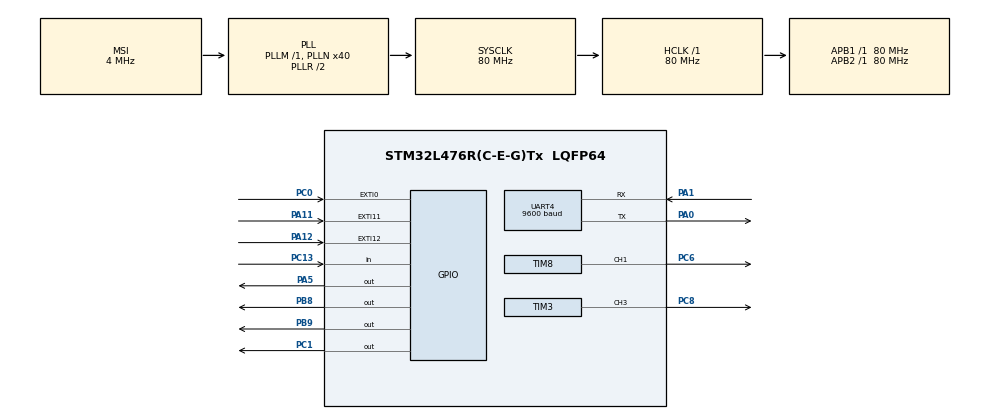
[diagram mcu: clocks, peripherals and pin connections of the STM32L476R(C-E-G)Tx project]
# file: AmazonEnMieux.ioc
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Mcu.Family=STM32L4
Mcu.Name=STM32L476R(C-E-G)Tx
Mcu.Package=LQFP64
NVIC.EXTI0_IRQn=true\:0\:0\:false\:false\:true\:true\:true
NVIC.EXTI15_10_IRQn=true\:0\:0\:false\:false\:true\:true\:true
NVIC.PriorityGroup=NVIC_PRIORITYGROUP_4
PA0.Mode=Asynchronous
PA0.Signal=UART4_TX
PA1.Mode=Asynchronous
PA1.Signal=UART4_RX
PA11.GPIO_ModeDefaultEXTI=GPIO_MODE_IT_RISING_FALLING
PA11.Signal=GPXTI11
PA12.GPIO_ModeDefaultEXTI=GPIO_MODE_IT_RISING_FALLING
PA12.Signal=GPXTI12
PA13\ (JTMS-SWDIO).Mode=Serial_Wire
PA13\ (JTMS-SWDIO).Signal=SYS_JTMS-SWDIO
PA14\ (JTCK-SWCLK).Mode=Serial_Wire
PA14\ (JTCK-SWCLK).Signal=SYS_JTCK-SWCLK
PA5.Signal=GPIO_Output
PB8.Signal=GPIO_Output
PB9.Signal=GPIO_Output
PC0.GPIO_ModeDefaultEXTI=GPIO_MODE_IT_RISING_FALLING
PC0.Signal=GPXTI0
PC1.Signal=GPIO_Output
PC13.Signal=GPIO_Input
PC6.Signal=S_TIM8_CH1
PC8.Signal=S_TIM3_CH3
ProjectManager.HeapSize=0x200
ProjectManager.StackSize=0x400
ProjectManager.TargetToolchain=STM32CubeIDE
RCC.AHBFreq_Value=80000000
RCC.APB1Freq_Value=80000000
RCC.APB1TimFreq_Value=80000000
RCC.APB2Freq_Value=80000000
RCC.APB2TimFreq_Value=80000000
RCC.CortexFreq_Value=80000000
RCC.HCLKFreq_Value=80000000
RCC.HSE_VALUE=8000000
RCC.HSI_VALUE=16000000
RCC.LSE_VALUE=32768
RCC.MSI_VALUE=4000000
RCC.PLLN=40
RCC.SYSCLKFreq_VALUE=80000000
RCC.SYSCLKSource=RCC_SYSCLKSOURCE_PLLCLK
RCC.VCOOutputFreq_Value=160000000
SH.S_TIM3_CH3.0=TIM3_CH3,PWM Generation3 CH3
SH.S_TIM8_CH1.0=TIM8_CH1,PWM Generation1 CH1
TIM3.Channel-PWM\ Generation3\ CH3=TIM_CHANNEL_3
TIM3.Period=999
TIM3.Prescaler=999
TIM3.Pulse-PWM\ Generation3\ CH3=0
TIM7.Prescaler=79
TIM8.Channel-PWM\ Generation1\ CH1=TIM_CHANNEL_1
TIM8.Period=999
TIM8.Prescaler=999
TIM8.Pulse-PWM\ Generation1\ CH1=0
UART4.BaudRate=9600
VP_TIM7_VS_ClockSourceINT.Mode=Enable_Timer
board=custom

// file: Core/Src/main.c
/* USER CODE BEGIN Header */
/**
  ******************************************************************************
  * @file           : main.c
  * @brief          : Main program body
  ******************************************************************************
  * @attention
  *
  * Copyright (c) 2021 STMicroelectronics.
  * All rights reserved.
  *
  * This software is licensed under terms that can be found in the LICENSE file
  * in the root directory of this software component.
  * If no LICENSE file comes with this software, it is provided AS-IS.
  *
  ******************************************************************************
  */
/* USER CODE END Header */
#include "main.h"

TIM_HandleTypeDef htim3;
TIM_HandleTypeDef htim7;
TIM_HandleTypeDef htim8;

UART_HandleTypeDef huart4;

/* USER CODE BEGIN PV */
void nodemcu_send(char context, char data);
char nodemcu_receive();

void sonar_distance();

uint16_t ecart_temps = 0;
uint16_t distance = 0;

uint8_t flag1 = 0;
uint16_t debut = 0;
uint16_t fin = 0;

void PWM_TIM3_SET_PULSE(uint16_t newPulse);
void PWM_TIM8_SET_PULSE(uint16_t newPulse);

void moteur_droit(uint16_t speed, GPIO_PinState direction);
void moteur_gauche(uint16_t speed, GPIO_PinState direction);

enum direction { AVANT, ARRIERE };

int boutton();

uint16_t taille = 10;

int sensor_gauche();
int sensor_droit();

void follow_path(int path);
void fix_path(int path);
void follow_line();

int mode_depl = 0;

int vitesse_moteurs = 550;

int temps_rotation = 500;
int temps_fix = 300;
int temps_pause = 1000;

int moving_state = 0;
int sensor_state = 0;

int button = 1;

/* USER CODE END PV */

void SystemClock_Config(void);
static void MX_GPIO_Init(void);
static void MX_UART4_Init(void);
static void MX_TIM7_Init(void);
static void MX_TIM3_Init(void);
static void MX_TIM8_Init(void);

int main(void)
{

  /* MCU Configuration--------------------------------------------------------*/

  /* Reset of all peripherals, Initializes the Flash interface and the Systick. */
  HAL_Init();

  /* Configure the system clock */
  SystemClock_Config();

  /* Initialize all configured peripherals */
  MX_GPIO_Init();
  MX_UART4_Init();
  MX_TIM7_Init();
  MX_TIM3_Init();
  MX_TIM8_Init();
  /* USER CODE BEGIN 2 */

  HAL_TIM_Base_Init(&htim7);
  HAL_TIM_Base_Start(&htim7);

  HAL_TIM_PWM_Start(&htim3, TIM_CHANNEL_3);
  HAL_TIM_PWM_Start(&htim8, TIM_CHANNEL_1);

  sensor_state = 0;
  sensor_state += HAL_GPIO_ReadPin(GPIOA, GPIO_PIN_11) ? 1 : 0; // Sensor Gauche
  sensor_state += HAL_GPIO_ReadPin(GPIOA, GPIO_PIN_12) ? 2 : 0; // Sensor Droit

  /* USER CODE END 2 */

  /* Infinite loop */
  /* USER CODE BEGIN WHILE */

  while (1)
  {

	  if (!boutton())
	  {
		  button = button == 0 ? 1 : 0;

		  char charButton = button == 0 ? '0' : '1';

		  nodemcu_send('1', charButton);
	  }

      /* Creation du message vide */
      char full_path[4];
      full_path[0] = '\0';
      /* Reception du message avec un timeout de 2s */
      HAL_UART_Receive(&huart4, full_path, 4, 2000);
      /* Attente */
      //HAL_Delay(100);

      if (full_path[0] == 'P')
      {
    	  int path_length = full_path[1] - 48;
    	  char paths[path_length][4];

    	  for (int i = 0; i < path_length;)
    	  {
    		  char part_path[4];
    		  part_path[1] = '\0';

    		  HAL_UART_Receive(&huart4, part_path, 4, 2000);

    		  if (part_path[1] == 'L' || part_path[1] == 'R')
    		  {
    			  int path_id = part_path[0] - 48;
    			  paths[path_id][0] = part_path[0];
    			  paths[path_id][1] = part_path[1];
    			  paths[path_id][2] = part_path[2];
    			  paths[path_id][3] = part_path[3];
    			  i++;
    		  }
    	  }

    	  for (int i = 0; i < path_length; i++)
    	  {
    		  follow_path(paths[i][1]);
			  nodemcu_send('2', paths[i][0]);
    	  }
      }

    /* USER CODE END WHILE */

  }
}

void SystemClock_Config(void)
{
  RCC_OscInitTypeDef RCC_OscInitStruct = {0};
  RCC_ClkInitTypeDef RCC_ClkInitStruct = {0};

  /** Configure the main internal regulator output voltage
  */
  if (HAL_PWREx_ControlVoltageScaling(PWR_REGULATOR_VOLTAGE_SCALE1) != HAL_OK)
  {
    Error_Handler();
  }
  /** Initializes the RCC Oscillators according to the specified parameters
  * in the RCC_OscInitTypeDef structure.
  */
  RCC_OscInitStruct.OscillatorType = RCC_OSCILLATORTYPE_MSI;
  RCC_OscInitStruct.MSIState = RCC_MSI_ON;
  RCC_OscInitStruct.MSICalibrationValue = 0;
  RCC_OscInitStruct.MSIClockRange = RCC_MSIRANGE_6;
  RCC_OscInitStruct.PLL.PLLState = RCC_PLL_ON;
  RCC_OscInitStruct.PLL.PLLSource = RCC_PLLSOURCE_MSI;
  RCC_OscInitStruct.PLL.PLLM = 1;
  RCC_OscInitStruct.PLL.PLLN = 40;
  RCC_OscInitStruct.PLL.PLLP = RCC_PLLP_DIV7;
  RCC_OscInitStruct.PLL.PLLQ = RCC_PLLQ_DIV2;
  RCC_OscInitStruct.PLL.PLLR = RCC_PLLR_DIV2;
  if (HAL_RCC_OscConfig(&RCC_OscInitStruct) != HAL_OK)
  {
    Error_Handler();
  }
  /** Initializes the CPU, AHB and APB buses clocks
  */
  RCC_ClkInitStruct.ClockType = RCC_CLOCKTYPE_HCLK|RCC_CLOCKTYPE_SYSCLK
                              |RCC_CLOCKTYPE_PCLK1|RCC_CLOCKTYPE_PCLK2;
  RCC_ClkInitStruct.SYSCLKSource = RCC_SYSCLKSOURCE_PLLCLK;
  RCC_ClkInitStruct.AHBCLKDivider = RCC_SYSCLK_DIV1;
  RCC_ClkInitStruct.APB1CLKDivider = RCC_HCLK_DIV1;
  RCC_ClkInitStruct.APB2CLKDivider = RCC_HCLK_DIV1;

  if (HAL_RCC_ClockConfig(&RCC_ClkInitStruct, FLASH_LATENCY_4) != HAL_OK)
  {
    Error_Handler();
  }
}

static void MX_TIM3_Init(void)
{

  TIM_MasterConfigTypeDef sMasterConfig = {0};
  TIM_OC_InitTypeDef sConfigOC = {0};

  htim3.Instance = TIM3;
  htim3.Init.Prescaler = 999;
  htim3.Init.CounterMode = TIM_COUNTERMODE_UP;
  htim3.Init.Period = 999;
  htim3.Init.ClockDivision = TIM_CLOCKDIVISION_DIV1;
  htim3.Init.AutoReloadPreload = TIM_AUTORELOAD_PRELOAD_DISABLE;
  if (HAL_TIM_PWM_Init(&htim3) != HAL_OK)
  {
    Error_Handler();
  }
  sMasterConfig.MasterOutputTrigger = TIM_TRGO_RESET;
  sMasterConfig.MasterSlaveMode = TIM_MASTERSLAVEMODE_DISABLE;
  if (HAL_TIMEx_MasterConfigSynchronization(&htim3, &sMasterConfig) != HAL_OK)
  {
    Error_Handler();
  }
  sConfigOC.OCMode = TIM_OCMODE_PWM1;
  sConfigOC.Pulse = 0;
  sConfigOC.OCPolarity = TIM_OCPOLARITY_HIGH;
  sConfigOC.OCFastMode = TIM_OCFAST_DISABLE;
  if (HAL_TIM_PWM_ConfigChannel(&htim3, &sConfigOC, TIM_CHANNEL_3) != HAL_OK)
  {
    Error_Handler();
  }
  HAL_TIM_MspPostInit(&htim3);

}

static void MX_TIM7_Init(void)
{

  TIM_MasterConfigTypeDef sMasterConfig = {0};

  htim7.Instance = TIM7;
  htim7.Init.Prescaler = 79;
  htim7.Init.CounterMode = TIM_COUNTERMODE_UP;
  htim7.Init.Period = 65535;
  htim7.Init.AutoReloadPreload = TIM_AUTORELOAD_PRELOAD_DISABLE;
  if (HAL_TIM_Base_Init(&htim7) != HAL_OK)
  {
    Error_Handler();
  }
  sMasterConfig.MasterOutputTrigger = TIM_TRGO_RESET;
  sMasterConfig.MasterSlaveMode = TIM_MASTERSLAVEMODE_DISABLE;
  if (HAL_TIMEx_MasterConfigSynchronization(&htim7, &sMasterConfig) != HAL_OK)
  {
    Error_Handler();
  }

}

static void MX_TIM8_Init(void)
{

  TIM_MasterConfigTypeDef sMasterConfig = {0};
  TIM_OC_InitTypeDef sConfigOC = {0};
  TIM_BreakDeadTimeConfigTypeDef sBreakDeadTimeConfig = {0};

  htim8.Instance = TIM8;
  htim8.Init.Prescaler = 999;
  htim8.Init.CounterMode = TIM_COUNTERMODE_UP;
  htim8.Init.Period = 999;
  htim8.Init.ClockDivision = TIM_CLOCKDIVISION_DIV1;
  htim8.Init.RepetitionCounter = 0;
  htim8.Init.AutoReloadPreload = TIM_AUTORELOAD_PRELOAD_DISABLE;
  if (HAL_TIM_PWM_Init(&htim8) != HAL_OK)
  {
    Error_Handler();
  }
  sMasterConfig.MasterOutputTrigger = TIM_TRGO_RESET;
  sMasterConfig.MasterOutputTrigger2 = TIM_TRGO2_RESET;
  sMasterConfig.MasterSlaveMode = TIM_MASTERSLAVEMODE_DISABLE;
  if (HAL_TIMEx_MasterConfigSynchronization(&htim8, &sMasterConfig) != HAL_OK)
  {
    Error_Handler();
  }
  sConfigOC.OCMode = TIM_OCMODE_PWM1;
  sConfigOC.Pulse = 0;
  sConfigOC.OCPolarity = TIM_OCPOLARITY_HIGH;
  sConfigOC.OCNPolarity = TIM_OCNPOLARITY_HIGH;
  sConfigOC.OCFastMode = TIM_OCFAST_DISABLE;
  sConfigOC.OCIdleState = TIM_OCIDLESTATE_RESET;
  sConfigOC.OCNIdleState = TIM_OCNIDLESTATE_RESET;
  if (HAL_TIM_PWM_ConfigChannel(&htim8, &sConfigOC, TIM_CHANNEL_1) != HAL_OK)
  {
    Error_Handler();
  }
  sBreakDeadTimeConfig.OffStateRunMode = TIM_OSSR_DISABLE;
  sBreakDeadTimeConfig.OffStateIDLEMode = TIM_OSSI_DISABLE;
  sBreakDeadTimeConfig.LockLevel = TIM_LOCKLEVEL_OFF;
  sBreakDeadTimeConfig.DeadTime = 0;
  sBreakDeadTimeConfig.BreakState = TIM_BREAK_DISABLE;
  sBreakDeadTimeConfig.BreakPolarity = TIM_BREAKPOLARITY_HIGH;
  sBreakDeadTimeConfig.BreakFilter = 0;
  sBreakDeadTimeConfig.Break2State = TIM_BREAK2_DISABLE;
  sBreakDeadTimeConfig.Break2Polarity = TIM_BREAK2POLARITY_HIGH;
  sBreakDeadTimeConfig.Break2Filter = 0;
  sBreakDeadTimeConfig.AutomaticOutput = TIM_AUTOMATICOUTPUT_DISABLE;
  if (HAL_TIMEx_ConfigBreakDeadTime(&htim8, &sBreakDeadTimeConfig) != HAL_OK)
  {
    Error_Handler();
  }
  HAL_TIM_MspPostInit(&htim8);

}

static void MX_UART4_Init(void)
{

  huart4.Instance = UART4;
  huart4.Init.BaudRate = 9600;
  huart4.Init.WordLength = UART_WORDLENGTH_8B;
  huart4.Init.StopBits = UART_STOPBITS_1;
  huart4.Init.Parity = UART_PARITY_NONE;
  huart4.Init.Mode = UART_MODE_TX_RX;
  huart4.Init.HwFlowCtl = UART_HWCONTROL_NONE;
  huart4.Init.OverSampling = UART_OVERSAMPLING_16;
  huart4.Init.OneBitSampling = UART_ONE_BIT_SAMPLE_DISABLE;
  huart4.AdvancedInit.AdvFeatureInit = UART_ADVFEATURE_NO_INIT;
  if (HAL_UART_Init(&huart4) != HAL_OK)
  {
    Error_Handler();
  }

}

static void MX_GPIO_Init(void)
{
  GPIO_InitTypeDef GPIO_InitStruct = {0};

  /* GPIO Ports Clock Enable */
  __HAL_RCC_GPIOC_CLK_ENABLE();
  __HAL_RCC_GPIOA_CLK_ENABLE();
  __HAL_RCC_GPIOB_CLK_ENABLE();

  /*Configure GPIO pin Output Level */
  HAL_GPIO_WritePin(GPIOC, GPIO_PIN_1, GPIO_PIN_RESET);

  /*Configure GPIO pin Output Level */
  HAL_GPIO_WritePin(GPIOA, GPIO_PIN_5, GPIO_PIN_RESET);

  /*Configure GPIO pin Output Level */
  HAL_GPIO_WritePin(GPIOB, GPIO_PIN_8|GPIO_PIN_9, GPIO_PIN_RESET);

  /*Configure GPIO pin : PC13 */
  GPIO_InitStruct.Pin = GPIO_PIN_13;
  GPIO_InitStruct.Mode = GPIO_MODE_INPUT;
  GPIO_InitStruct.Pull = GPIO_NOPULL;
  HAL_GPIO_Init(GPIOC, &GPIO_InitStruct);

  /*Configure GPIO pin : PC0 */
  GPIO_InitStruct.Pin = GPIO_PIN_0;
  GPIO_InitStruct.Mode = GPIO_MODE_IT_RISING_FALLING;
  GPIO_InitStruct.Pull = GPIO_NOPULL;
  HAL_GPIO_Init(GPIOC, &GPIO_InitStruct);

  /*Configure GPIO pin : PC1 */
  GPIO_InitStruct.Pin = GPIO_PIN_1;
  GPIO_InitStruct.Mode = GPIO_MODE_OUTPUT_PP;
  GPIO_InitStruct.Pull = GPIO_NOPULL;
  GPIO_InitStruct.Speed = GPIO_SPEED_FREQ_LOW;
  HAL_GPIO_Init(GPIOC, &GPIO_InitStruct);

  /*Configure GPIO pin : PA5 */
  GPIO_InitStruct.Pin = GPIO_PIN_5;
  GPIO_InitStruct.Mode = GPIO_MODE_OUTPUT_PP;
  GPIO_InitStruct.Pull = GPIO_NOPULL;
  GPIO_InitStruct.Speed = GPIO_SPEED_FREQ_LOW;
  HAL_GPIO_Init(GPIOA, &GPIO_InitStruct);

  /*Configure GPIO pins : PA11 PA12 */
  GPIO_InitStruct.Pin = GPIO_PIN_11|GPIO_PIN_12;
  GPIO_InitStruct.Mode = GPIO_MODE_IT_RISING_FALLING;
  GPIO_InitStruct.Pull = GPIO_NOPULL;
  HAL_GPIO_Init(GPIOA, &GPIO_InitStruct);

  /*Configure GPIO pins : PB8 PB9 */
  GPIO_InitStruct.Pin = GPIO_PIN_8|GPIO_PIN_9;
  GPIO_InitStruct.Mode = GPIO_MODE_OUTPUT_PP;
  GPIO_InitStruct.Pull = GPIO_NOPULL;
  GPIO_InitStruct.Speed = GPIO_SPEED_FREQ_LOW;
  HAL_GPIO_Init(GPIOB, &GPIO_InitStruct);

  /* EXTI interrupt init*/
  HAL_NVIC_SetPriority(EXTI0_IRQn, 0, 0);
  HAL_NVIC_EnableIRQ(EXTI0_IRQn);

  HAL_NVIC_SetPriority(EXTI15_10_IRQn, 0, 0);
  HAL_NVIC_EnableIRQ(EXTI15_10_IRQn);

}

/* USER CODE BEGIN 4 */

void nodemcu_send(char context, char data)
{
	char message[3];
	message[0] = context;
	message[1] = data;
	message[2] = '.';

	/* Envoi par UART avec un timeout de 100 ms */
	HAL_UART_Transmit(&huart4, message, 3, 100);
	/* Attente */
}

//void HAL_UART_RxCpltCallback(UART_HandleTypeDef *huart)
//{
//    HAL_UART_Receive_IT(huart, dataReceived, 100);
//}

int boutton()
{
	return HAL_GPIO_ReadPin(GPIOC, GPIO_PIN_13);
}

void follow_path(int path)
{
	moving_state = 0;

	fix_path(path);
	follow_line();
	HAL_Delay(temps_pause);
}

void fix_path(int path)
{
	switch(path)
	{
	case 'L': // gauche
		moteur_gauche(vitesse_moteurs, ARRIERE);
		HAL_Delay(temps_fix);
		moteur_gauche(vitesse_moteurs, AVANT);
		moteur_droit(vitesse_moteurs, AVANT);
		HAL_Delay(temps_fix * 1.5);
		moteur_gauche(0, AVANT);
		moteur_droit(0, AVANT);
		while(sensor_state == 2 || sensor_state == 3)
		{
			moteur_droit(vitesse_moteurs, AVANT);
			HAL_Delay(10);
		}
		break;
	case 'R': // droite
		moteur_droit(vitesse_moteurs, ARRIERE);
		HAL_Delay(temps_fix);
		moteur_gauche(vitesse_moteurs, AVANT);
		moteur_droit(vitesse_moteurs, AVANT);
		HAL_Delay(temps_fix * 1.5);
		moteur_gauche(0, AVANT);
		moteur_droit(0, AVANT);
		while(sensor_state == 2 || sensor_state == 3)
		{
			moteur_gauche(vitesse_moteurs, AVANT);
			HAL_Delay(10);
		}
		break;
	}

	moteur_droit(0, AVANT);
	moteur_gauche(0, AVANT);
}

void follow_line()
{
	while (moving_state == 0)
	{
		switch (sensor_state) // (sensor g;sensor d)
		{
		case 0: // 00
			moteur_droit(vitesse_moteurs, AVANT);
			moteur_gauche(vitesse_moteurs, AVANT);
			break;
		case 1: // 01
			moteur_gauche(vitesse_moteurs, ARRIERE);
			HAL_Delay(20);
			moteur_gauche(0, AVANT);
			moteur_droit(vitesse_moteurs, AVANT);
			break;
		case 2: // 10
			moteur_droit(vitesse_moteurs, ARRIERE);
			HAL_Delay(20);
			moteur_droit(0, AVANT);
			moteur_gauche(vitesse_moteurs, AVANT);
			break;
		case 3: // 11
			moteur_droit(0, AVANT);
			moteur_gauche(0, AVANT);
			moving_state = 1;
			break;
		default:
			moteur_droit(vitesse_moteurs, ARRIERE);
			moteur_gauche(vitesse_moteurs, ARRIERE);
		}
		HAL_Delay(10);

		sonar_distance();

		while (distance < 200)
		{
			sonar_distance();
			moteur_droit(0, AVANT);
			moteur_gauche(0, AVANT);
			HAL_Delay(100);
		}
	}
}

void moteur_droit(uint16_t speed, GPIO_PinState direction)
{
	PWM_TIM8_SET_PULSE(speed);
	HAL_TIM_PWM_Start(&htim8, TIM_CHANNEL_1);
	HAL_GPIO_WritePin(GPIOB, GPIO_PIN_9, direction);
}

void moteur_gauche(uint16_t speed, GPIO_PinState direction)
{
	PWM_TIM3_SET_PULSE(speed);
	HAL_TIM_PWM_Start(&htim3, TIM_CHANNEL_3);
	HAL_GPIO_WritePin(GPIOB, GPIO_PIN_8, direction);
}

void sonar_distance()
{
	//Generation de la pulsation trigger :
	HAL_GPIO_WritePin(GPIOC, GPIO_PIN_1, GPIO_PIN_SET);
	debut = __HAL_TIM_GET_COUNTER(&htim7);
	do
	{
		fin = __HAL_TIM_GET_COUNTER(&htim7);
	}
	while (fin - debut < 10);
	HAL_GPIO_WritePin(GPIOC, GPIO_PIN_1, GPIO_PIN_RESET);
}

void HAL_GPIO_EXTI_Callback(uint16_t GPIO_Pin)
{
	int etat_gauche = HAL_GPIO_ReadPin(GPIOA, GPIO_PIN_11);
	int etat_droit = HAL_GPIO_ReadPin(GPIOA, GPIO_PIN_12);

	sensor_state = 0;
	sensor_state += etat_gauche ? 1 : 0; // Sensor Gauche
	sensor_state += etat_droit ? 2 : 0; // Sensor Droit

	// if (GPIO_Pin != 1) return; // Condition si la pin du SONAR !

	if ( HAL_GPIO_ReadPin(GPIOC, GPIO_PIN_0) == 1 )
	{
		debut = __HAL_TIM_GET_COUNTER(&htim7);
	}
	else
	{
		fin = __HAL_TIM_GET_COUNTER(&htim7);

		//Calcul apres reception signal :
		ecart_temps = fin - debut;
		distance = ecart_temps * 0.17;  //distance en mm
	}
}

void PWM_TIM3_SET_PULSE(uint16_t newPulse)
{
	HAL_TIM_PWM_Stop(&htim3, TIM_CHANNEL_3);

	TIM_OC_InitTypeDef sConfigOC = {0};

	sConfigOC.OCMode = TIM_OCMODE_PWM1;
	sConfigOC.Pulse = newPulse;
	sConfigOC.OCPolarity = TIM_OCPOLARITY_HIGH;
	sConfigOC.OCFastMode = TIM_OCFAST_DISABLE;
	if (HAL_TIM_PWM_ConfigChannel(&htim3, &sConfigOC, TIM_CHANNEL_3) != HAL_OK)
	{
	    Error_Handler();
	}
}

void PWM_TIM8_SET_PULSE(uint16_t newPulse)
{
	HAL_TIM_PWM_Stop(&htim8, TIM_CHANNEL_1);

	TIM_OC_InitTypeDef sConfigOC = {0};

	sConfigOC.OCMode = TIM_OCMODE_PWM1;
	sConfigOC.Pulse = newPulse;
	sConfigOC.OCPolarity = TIM_OCPOLARITY_HIGH;
	sConfigOC.OCNPolarity = TIM_OCNPOLARITY_HIGH;
	sConfigOC.OCFastMode = TIM_OCFAST_DISABLE;
	sConfigOC.OCIdleState = TIM_OCIDLESTATE_RESET;
	sConfigOC.OCNIdleState = TIM_OCNIDLESTATE_RESET;
	if (HAL_TIM_PWM_ConfigChannel(&htim8, &sConfigOC, TIM_CHANNEL_1) != HAL_OK)
	{
	    Error_Handler();
	}
}

/* USER CODE END 4 */

void Error_Handler(void)
{
  __disable_irq();
  while (1)
  {
  }
}
